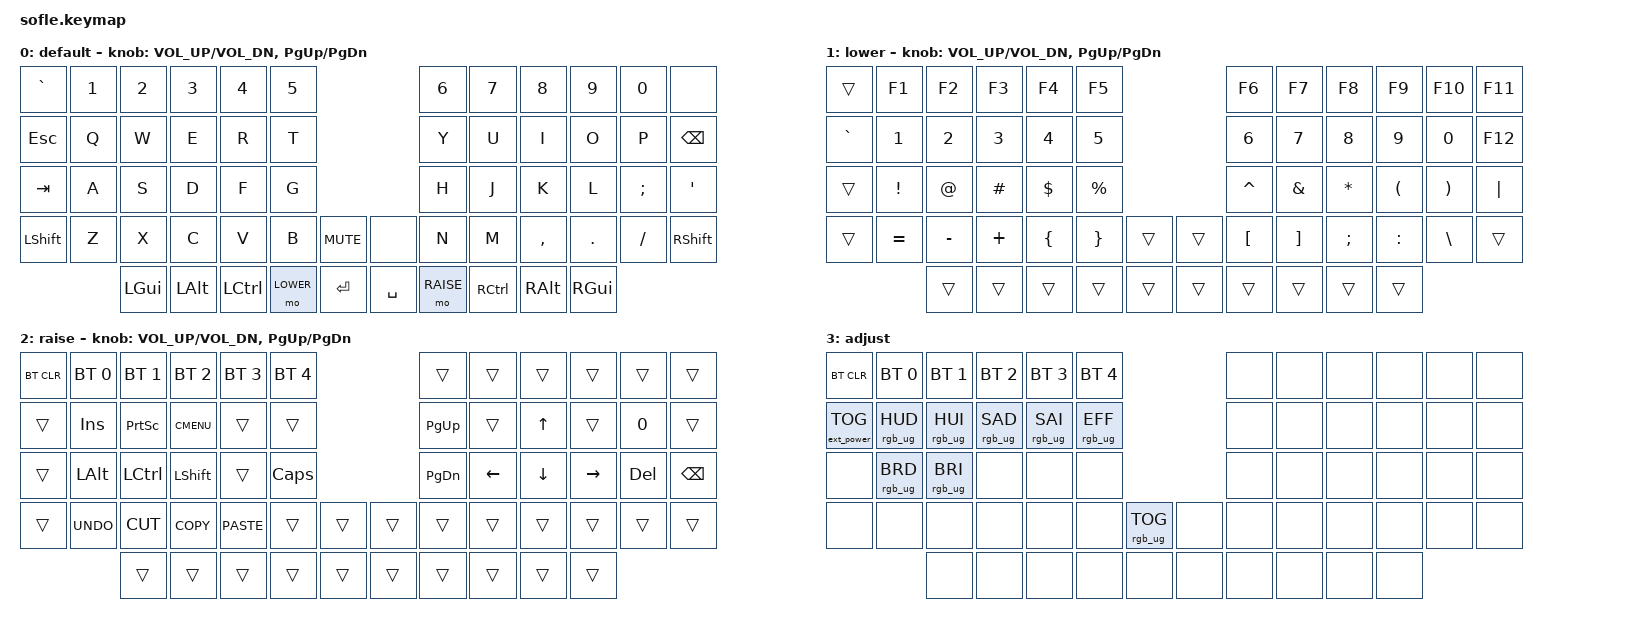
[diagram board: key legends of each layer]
/*
 * Copyright (c) 2020 The ZMK Contributors
 *
 * SPDX-License-Identifier: MIT
 */
// Importazione delle librerie necessarie
#include <zmk/keys.h>
#include <zmk/keymap.h>
#include <drivers/oled.h>
#include <drivers/led_rgb.h>

// Abilitare il supporto per il display OLED
#define OLED_DRIVER_ENABLE       true
#define OLED_TIMEOUT             3000
#define OLED_I2C_ADDRESS         0x3C          // Indirizzo I2C del display
#define OLED_DISPLAY_WIDTH       128           // Larghezza del display
#define OLED_DISPLAY_HEIGHT      64            // Altezza del display
#define OLED_FONT_H             6              // Altezza dei caratteri
#define OLED_FONT_W             6              // Larghezza dei caratteri

// Abilitare l'illuminazione RGB per tasto
#define RGB_MATRIX_ENABLE        true
#define RGB_MATRIX_LED_COUNT     42             // Numero di LED RGB per la tastiera Sofle
#define RGB_MATRIX_MAXIMUM_BRIGHTNESS 255       // Luminosità massima
#define RGB_MATRIX_KEYPRESSES    true           // Attivare RGB quando i tasti vengono premuti
#define RGB_MATRIX_LAYER         true           // Attivare gli effetti RGB per i layer

// Definizione dei colori e della modalità di illuminazione RGB
#define RGB_MATRIX_STARTUP_MODE RGB_MATRIX_SOLID_COLOR
#define RGB_MATRIX_STARTUP_COLOR RGB(255, 0, 0) // Colore iniziale (rosso)

// Layout della tastiera Sofle (solo un esempio, personalizza in base al tuo layout)
const uint8_t keymaps[][MATRIX_ROWS][MATRIX_COLS] = {
    [0] = LAYOUT(
        // Definisci il layout dei tasti in base al modello Sofle
        KC_Q, KC_W, KC_E, KC_R, KC_T, KC_Y, 
        KC_A, KC_S, KC_D, KC_F, KC_G, KC_H,
        KC_Z, KC_X, KC_C, KC_V, KC_B, KC_N
    ),
};

// Funzione per aggiornare il display OLED con informazioni
void oled_task(void) {
    oled_write_ln("Sofle Keyboard", false);   // Scrive il testo "Sofle Keyboard"
    oled_write_ln("RGB & OLED enabled", false); // Mostra che le funzionalità sono abilitate
}

// Funzione per cambiare l'illuminazione RGB in base al layer
void rgb_matrix_indicators_user(void) {
    if (layer_state_is(0)) {
        rgb_matrix_set_color_all(255, 0, 0);  // Rosso per il layer 0
    }
    else if (layer_state_is(1)) {
        rgb_matrix_set_color_all(0, 255, 0);  // Verde per il layer 1
    }
    else {
        rgb_matrix_set_color_all(0, 0, 255);  // Blu per tutti gli altri layer
    }
}

// Attivazione dell'illuminazione per i tasti premuti
void rgb_matrix_indicators(void) {
    if (IS_ACTIVE_LAYER(0)) {
        rgb_matrix_set_color_all(255, 0, 0);  // Rosso
    }
    else if (IS_ACTIVE_LAYER(1)) {
        rgb_matrix_set_color_all(0, 255, 0);  // Verde
    }
    else {
        rgb_matrix_set_color_all(0, 0, 255);  // Blu
    }
}

// Aggiungi altre funzioni o modifiche personalizzate se necessario


// La tastiera Sofle
define SOFTLE_KEYMAP <il_tuo_file_keymap>

#include <behaviors.dtsi>
#include <dt-bindings/zmk/keys.h>
#include <dt-bindings/zmk/bt.h>
#include <dt-bindings/zmk/rgb.h>
#include <dt-bindings/zmk/ext_power.h>

define BASE 0
define LOWER 1
define RAISE 2
define ADJUST 3

/ {

   // Activate ADJUST layer by pressing raise and lower
    conditional_layers {
        compatible = "zmk,conditional-layers";
        adjust_layer {
            if-layers = <LOWER RAISE>;
            then-layer = <ADJUST>;
        };
    };

    keymap {
        compatible = "zmk,keymap";

        default_layer {
            display-name = "default";
// ------------------------------------------------------------------------------------------------------------
// |   `   |  1  |  2  |  3   |  4   |  5   |                   |  6   |  7    |  8    |  9   |   0   |       |
// |  ESC  |  Q  |  W  |  E   |  R   |  T   |                   |  Y   |  U    |  I    |  O   |   P   | BKSPC |
// |  TAB  |  A  |  S  |  D   |  F   |  G   |                   |  H   |  J    |  K    |  L   |   ;   |   '   |
// | SHIFT |  Z  |  X  |  C   |  V   |  B   |  MUTE  |  |       |  N   |  M    |  ,    |  .   |   /   | SHIFT |
//               | GUI | ALT  | CTRL | LOWER|  ENTER |  | SPACE | RAISE| CTRL  | ALT   | GUI  |
            bindings = <
&kp GRAVE &kp N1 &kp N2   &kp N3   &kp N4    &kp N5                           &kp N6 &kp N7    &kp N8    &kp N9   &kp N0   &none
&kp ESC   &kp Q  &kp W    &kp E    &kp R     &kp T                            &kp Y  &kp U     &kp I     &kp O    &kp P    &kp BSPC
&kp TAB   &kp A  &kp S    &kp D    &kp F     &kp G                            &kp H  &kp J     &kp K     &kp L    &kp SEMI &kp SQT
&kp LSHFT &kp Z  &kp X    &kp C    &kp V     &kp B      &kp C_MUTE &none      &kp N  &kp M     &kp COMMA &kp DOT  &kp FSLH &kp RSHFT
                 &kp LGUI &kp LALT &kp LCTRL &mo LOWER  &kp RET    &kp SPACE  &mo RAISE  &kp RCTRL &kp RALT  &kp RGUI
            >;

            sensor-bindings = <&inc_dec_kp C_VOL_UP C_VOL_DN &inc_dec_kp PG_UP PG_DN>;
        };

        lower_layer {
            display-name = "lower";
// TODO: Some binds are waiting for shifted keycode support.
// ------------------------------------------------------------------------------------------------------------
// |       |  F1 |  F2 |  F3  |  F4  |  F5  |                   |  F6  |  F7   |  F8   |  F9  |  F10  |  F11  |
// |   `   |  1  |  2  |  3   |  4   |  5   |                   |  6   |  7    |  8    |  9   |   0   |  F12  |
// |       |  !  |  @  |  #   |  $   |  %   |                   |  ^   |  &    |  *    |  (   |   )   |   |   |
// |       |  =  |  -  |  +   |  {   |  }   |        |  |       |  [   |  ]    |  ;    |  :   |   \   |       |
//               |     |      |      |      |        |  |       |      |       |       |      |
            bindings = <
&trans    &kp F1    &kp F2    &kp F3      &kp F4    &kp F5                    &kp F6    &kp F7   &kp F8    &kp F9    &kp F10   &kp F11
&kp GRAVE &kp N1    &kp N2    &kp N3      &kp N4    &kp N5                    &kp N6    &kp N7   &kp N8    &kp N9    &kp N0    &kp F12
&trans    &kp EXCL  &kp AT    &kp HASH    &kp DLLR  &kp PRCNT                 &kp CARET &kp AMPS &kp ASTRK &kp LPAR  &kp RPAR  &kp PIPE
&trans    &kp EQUAL &kp MINUS &kp PLUS &kp LBRC  &kp RBRC   &trans &trans  &kp LBKT  &kp RBKT &kp SEMI  &kp COLON &kp BSLH  &trans
                    &trans    &trans      &trans    &trans     &trans &trans  &trans    &trans   &trans    &trans
            >;

            sensor-bindings = <&inc_dec_kp C_VOL_UP C_VOL_DN &inc_dec_kp PG_UP PG_DN>;
        };

        raise_layer {
            display-name = "raise";
// ------------------------------------------------------------------------------------------------------------
// | BTCLR | BT1  | BT2  |  BT3  |  BT4  |  BT5 |                |      |      |       |      |       |       |
// |       | INS  | PSCR | GUI   |       |      |                | PGUP |      |   ^   |      |       |       |
// |       | ALT  | CTRL | SHIFT |       | CAPS |                | PGDN |   <- |   v   |  ->  |  DEL  | BKSPC |
// |       | UNDO | CUT  | COPY  | PASTE |      |      |  |      |      |      |       |      |       |       |
//                |      |       |       |      |      |  |      |      |      |       |      |
            bindings = <
&bt BT_CLR &bt BT_SEL 0 &bt BT_SEL 1 &bt BT_SEL 2 &bt BT_SEL 3 &bt BT_SEL 4                  &trans    &trans    &trans   &trans    &trans  &trans
&trans     &kp INS      &kp PSCRN    &kp K_CMENU  &trans       &trans                        &kp PG_UP &trans    &kp UP   &trans    &kp N0  &trans
&trans     &kp LALT     &kp LCTRL    &kp LSHFT    &trans       &kp CLCK                      &kp PG_DN &kp LEFT  &kp DOWN &kp RIGHT &kp DEL &kp BSPC
&trans     &kp K_UNDO   &kp K_CUT    &kp K_COPY   &kp K_PASTE  &trans        &trans  &trans  &trans    &trans    &trans   &trans    &trans  &trans
                        &trans       &trans       &trans       &trans        &trans  &trans  &trans    &trans    &trans   &trans
            >;

            sensor-bindings = <&inc_dec_kp C_VOL_UP C_VOL_DN &inc_dec_kp PG_UP PG_DN>;
        };

        adjust_layer {
// ----------------------------------------------------------------------------------------------------------------------------
// | BTCLR  |  BT1    |  BT2    |   BT3   |   BT4   |   BT5   |                  |      |      |       |      |       |       |
// | EXTPWR | RGB_HUD | RGB_HUI | RGB_SAD | RGB_SAI | RGB_EFF |                  |      |      |       |      |       |       |
// |        | RGB_BRD | RGB_BRI |         |         |         |                  |      |      |       |      |       |       |
// |        |         |         |         |         |         | RGB_TOG | |      |      |      |       |      |       |       |
//                    |         |         |         |         |         | |      |      |      |       |      |
            display-name = "adjust";
            bindings = <
&bt BT_CLR        &bt BT_SEL 0    &bt BT_SEL 1    &bt BT_SEL 2    &bt BT_SEL 3    &bt BT_SEL 4                            &none &none &none &none &none &none
&ext_power EP_TOG &rgb_ug RGB_HUD &rgb_ug RGB_HUI &rgb_ug RGB_SAD &rgb_ug RGB_SAI &rgb_ug RGB_EFF                         &none &none &none &none &none &none
&none             &rgb_ug RGB_BRD &rgb_ug RGB_BRI &none           &none           &none                                   &none &none &none &none &none &none
&none             &none           &none           &none           &none           &none            &rgb_ug RGB_TOG &none  &none &none &none &none &none &none
                                  &none           &none           &none           &none            &none           &none  &none &none &none &none
            >;
        };

    };
};
